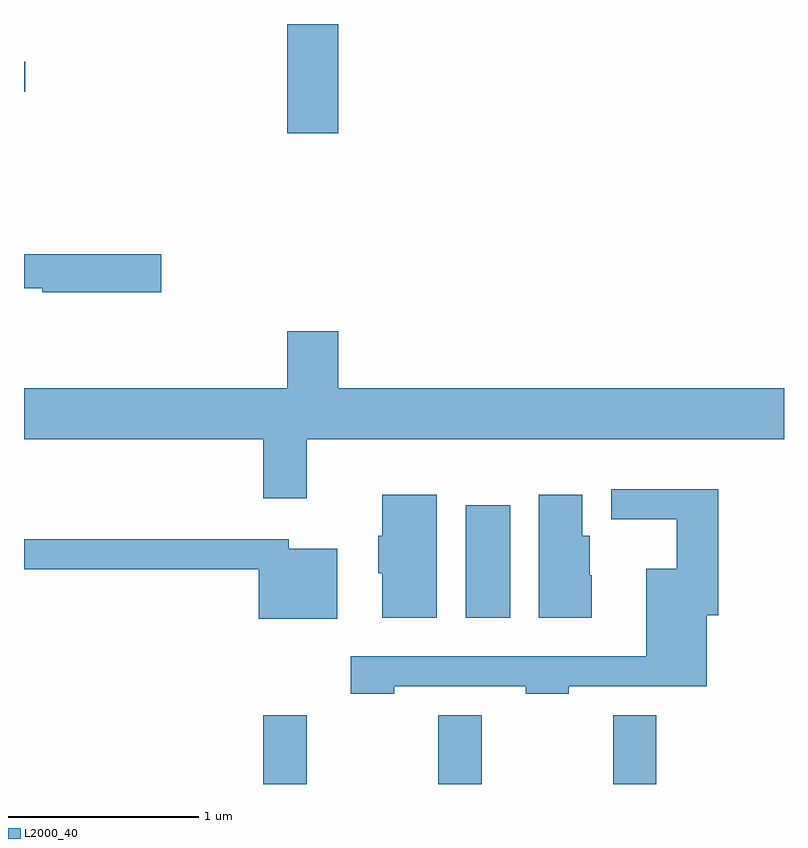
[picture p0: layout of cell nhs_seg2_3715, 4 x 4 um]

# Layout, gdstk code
import gdstk
lib = gdstk.Library(unit=1e-6, precision=1e-09)
def R(c, l, rs):  # rectangles x0, y0, x1, y1
    for r in rs: c.add(gdstk.rectangle(r[:2], r[2:], *l))
def A(c, l, x, y, w, h, nx, ny, dx, dy):  # array of equal rectangles
    R(c, l, [(x+i*dx, y+j*dy, x+i*dx+w, y+j*dy+h) for i in range(nx) for j in range(ny)])
def P(c, l, *ps):  # polygons
    for p in ps: c.add(gdstk.Polygon(p, *l))
L2000_40 = (2000, 40)

nhs_seg2_3715 = lib.new_cell('nhs_seg2_3715')
A(nhs_seg2_3715, L2000_40, 294.871, 1079.802, 0.228, 0.362, 3, 1, 0.92, 0)
R(nhs_seg2_3715, L2000_40, [(295.936,1080.676,296.169,1081.269), (294.996,1083.226,295.264,1083.802), (293.611,1083.446,293.618,1083.604)])
P(nhs_seg2_3715, L2000_40, [(294.334,1082.589),(293.611,1082.589),(293.611,1082.411),(293.706,1082.411),(293.706,1082.391),(294.334,1082.391)],
  [(295.099,1081.616),(297.611,1081.616),(297.611,1081.884),(295.264,1081.884),(295.264,1082.184),(294.996,1082.184),(294.996,1081.884),(293.611,1081.884),(293.611,1081.616),(294.871,1081.616),(294.871,1081.306),(295.099,1081.306)],
  [(295.559,1080.316),(296.251,1080.316),(296.251,1080.276),(296.479,1080.276),(296.479,1080.316),(297.204,1080.316),(297.204,1080.691),(297.264,1080.691),(297.264,1081.354),(296.703,1081.354),(296.703,1081.196),(297.046,1081.196),(297.046,1080.934),(296.886,1080.934),(296.886,1080.474),(295.331,1080.474),(295.331,1080.276),(295.559,1080.276)],
  [(296.599,1080.9),(296.589,1080.9),(296.589,1081.109),(296.549,1081.109),(296.549,1081.324),(296.321,1081.324),(296.321,1080.676),(296.599,1080.676)],
  [(295.784,1081.324),(295.496,1081.324),(295.496,1081.109),(295.476,1081.109),(295.476,1080.911),(295.496,1080.911),(295.496,1080.676),(295.784,1080.676)],
  [(295.259,1081.039),(295.004,1081.039),(295.004,1081.089),(293.611,1081.089),(293.611,1080.931),(294.846,1080.931),(294.846,1080.671),(295.259,1080.671)])

lib.write_gds('nhs_seg2_3715.gds')
